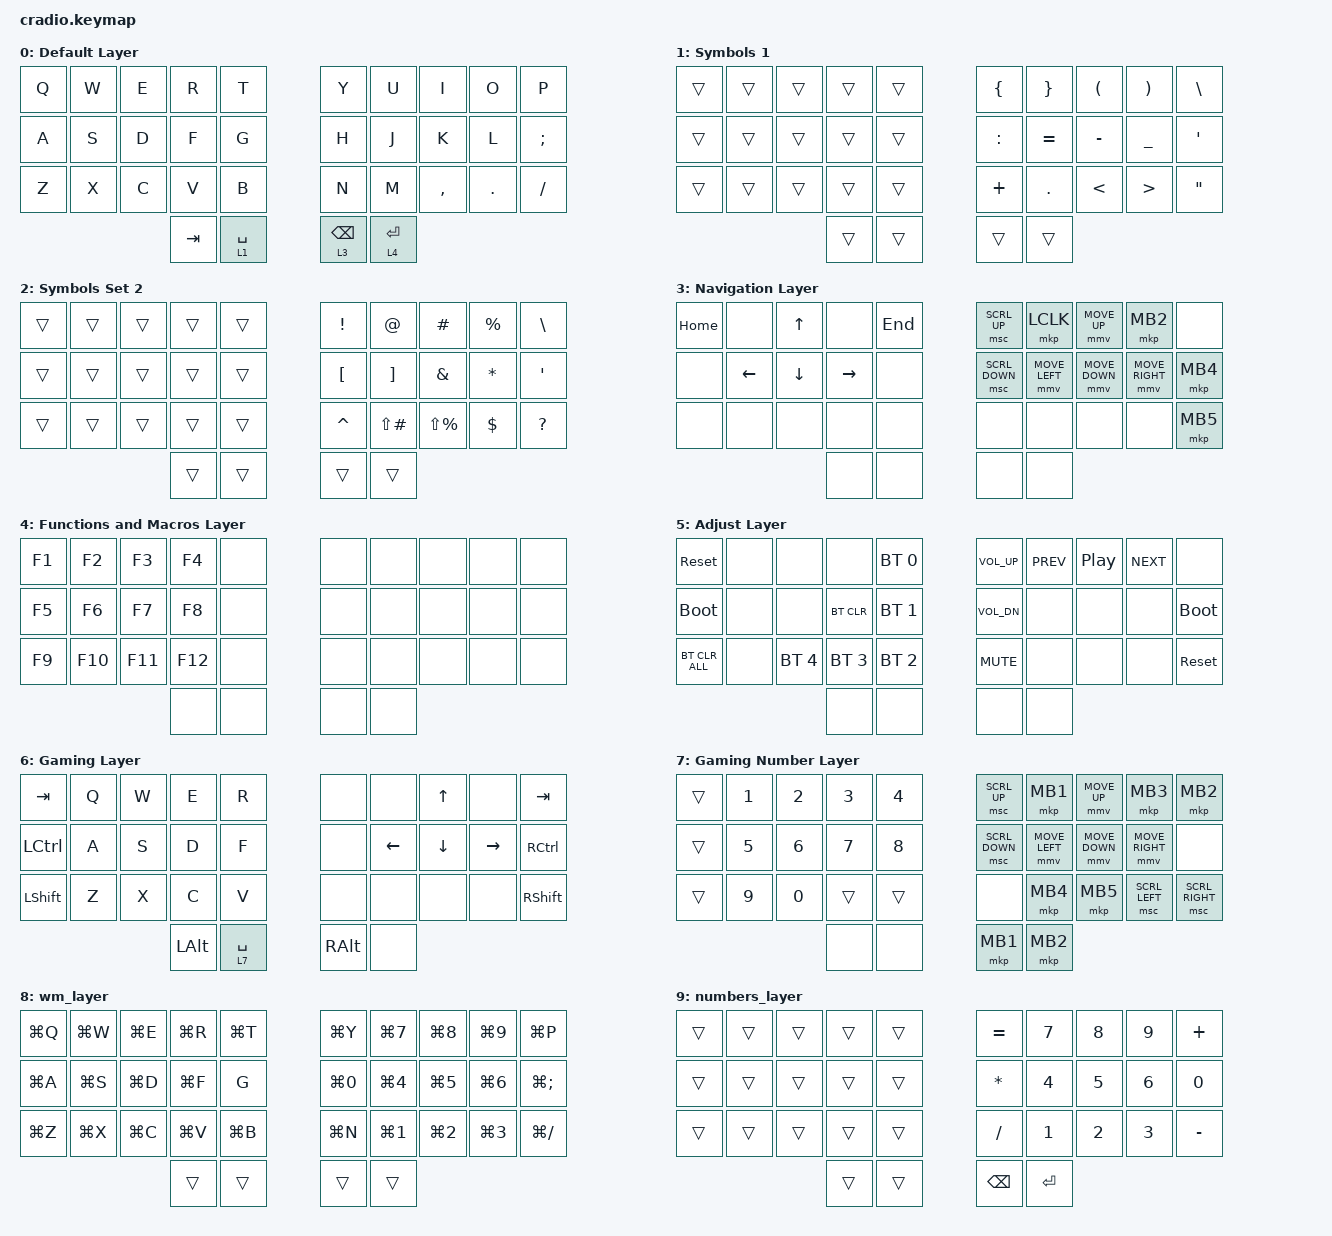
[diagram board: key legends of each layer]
#include <behaviors.dtsi>
#include <dt-bindings/zmk/bt.h>
#include <dt-bindings/zmk/keys.h>
#include <dt-bindings/zmk/pointing.h>

&mmv {
    acceleration-exponent = <4>;
    time-to-max-speed-ms = <100>;
};

&msc { time-to-max-speed-ms = <0>; };

/ {
    behaviors {
        ht: ht {
            compatible = "zmk,behavior-hold-tap";
            label = "Hold Tap";
            bindings = <&kp>, <&kp>;

            #binding-cells = <2>;
            tapping-term-ms = <220>;
            quick-tap-ms = <150>;
            require-prior-idle-ms = <100>;
            flavor = "tap-preferred";
        };

        copy_paste: copy_paste {
            compatible = "zmk,behavior-tap-dance";
            label = "COPY_PASTE";
            #binding-cells = <0>;
            bindings = <&kp LC(C)>, <&kp LC(V)>;
        };
    };

    combos {
        compatible = "zmk,combos";

        toggle_gaming_layer {
            bindings = <&tog 6>;
            key-positions = <30 33>;
            layers = <0 6>;
        };

        escape {
            bindings = <&kp ESCAPE>;
            key-positions = <0 1>;
            layers = <0>;
        };

        left_ctrl {
            bindings = <&sk LEFT_CONTROL>;
            key-positions = <10 11>;
            layers = <0>;
        };

        left_shift {
            bindings = <&sk LEFT_SHIFT>;
            key-positions = <20 21>;
            layers = <0>;
        };

        sticky_wm_layer_left {
            bindings = <&sl 8>;
            key-positions = <21 22>;
            layers = <0>;
        };

        grave {
            bindings = <&kp GRAVE>;
            key-positions = <1 2>;
            layers = <0>;
        };

        back_slash {
            bindings = <&kp BACKSLASH>;
            key-positions = <8 9>;
        };

        quote {
            bindings = <&kp SQT>;
            key-positions = <7 8>;
            layers = <0>;
        };

        right_ctrl {
            bindings = <&sk RIGHT_CONTROL>;
            key-positions = <18 19>;
            layers = <0>;
        };

        right_shift {
            bindings = <&sk RIGHT_SHIFT>;
            key-positions = <29 28>;
            layers = <0>;
        };

        stick_wm_layer_right {
            bindings = <&sl 8>;
            key-positions = <27 28>;
            layers = <0>;
        };

        right_alt {
            bindings = <&sk RIGHT_ALT>;
            key-positions = <27 26>;
            layers = <0>;
        };

        symbols_1_layer {
            bindings = <&mo 1>;
            key-positions = <3 4>;
            layers = <0>;
        };

        symbols_2_layer {
            bindings = <&mo 2>;
            key-positions = <13 14>;
            layers = <0>;
        };

        fn_layer {
            bindings = <&mo 4>;
            key-positions = <6 5>;
            layers = <0>;
        };

        copy_paste {
            bindings = <&copy_paste>;
            key-positions = <15 16>;
            layers = <0>;
        };

        tilde {
            bindings = <&kp TILDE>;
            key-positions = <2 3>;
            layers = <0>;
        };

        left_win_wm_layer {
            bindings = <&kp LEFT_GUI>;
            key-positions = <21 22>;
            layers = <8>;
        };

        right_win_wm_layer {
            bindings = <&kp RIGHT_GUI>;
            key-positions = <28 27>;
            layers = <8>;
        };

        numbers_layer {
            bindings = <&mo 9>;
            key-positions = <24 23>;
            layers = <0 3>;
        };

        toggle_navigation_layer {
            bindings = <&tog 3>;
            key-positions = <25 26>;
            layers = <0>;
        };

        left_alt {
            bindings = <&sk LEFT_ALT>;
            key-positions = <23 22>;
            layers = <0 3>;
        };

        double_quotes {
            bindings = <&kp DOUBLE_QUOTES>;
            key-positions = <6 7>;
            layers = <0>;
        };

        colon {
            bindings = <&kp COLON>;
            key-positions = <17 16>;
            layers = <0>;
        };

        equal {
            bindings = <&kp EQUAL>;
            key-positions = <17 18>;
            layers = <0>;
        };

        middle_click_navigation_layer {
            bindings = <&mkp MB3>;
            key-positions = <7 8>;
            layers = <3>;
        };

        bootloader_left {
            bindings = <&bootloader>;
            key-positions = <31 30>;
            layers = <0>;
        };

        bootloader_right {
            bindings = <&bootloader>;
            key-positions = <32 33>;
            layers = <0>;
        };
    };

    keymap {
        compatible = "zmk,keymap";

        default_layer {
            bindings = <
&kp Q  &kp W  &kp E  &kp R    &kp T          &kp Y            &kp U        &kp I      &kp O    &kp P
&kp A  &kp S  &kp D  &kp F    &kp G          &kp H            &kp J        &kp K      &kp L    &kp SEMICOLON
&kp Z  &kp X  &kp C  &kp V    &kp B          &kp N            &kp M        &kp COMMA  &kp DOT  &kp FSLH
                     &kp TAB  &lt 1 SPACE    &lt 3 BACKSPACE  &lt 4 ENTER
            >;

            label = "Default Layer";
        };

        symbols_1 {
            bindings = <
&trans  &trans  &trans  &trans  &trans    &kp LEFT_BRACE  &kp RIGHT_BRACE  &kp LEFT_PARENTHESIS  &kp RIGHT_PARENTHESIS  &kp BACKSLASH
&trans  &trans  &trans  &trans  &trans    &kp COLON       &kp EQUAL        &kp MINUS             &kp UNDER              &kp SINGLE_QUOTE
&trans  &trans  &trans  &trans  &trans    &kp PLUS        &kp DOT          &kp LESS_THAN         &kp GREATER_THAN       &kp DOUBLE_QUOTES
                        &trans  &trans    &trans          &trans
            >;

            label = "Symbols 1";
        };

        symbols_2 {
            bindings = <
&trans  &trans  &trans  &trans  &trans    &kp EXCL   &kp AT         &kp HASH       &kp PERCENT  &kp BACKSLASH
&trans  &trans  &trans  &trans  &trans    &kp LBKT   &kp RBKT       &kp AMPERSAND  &kp STAR     &kp SQT
&trans  &trans  &trans  &trans  &trans    &kp CARET  &kp LS(POUND)  &kp LS(PRCNT)  &kp DOLLAR   &kp QUESTION
                        &trans  &trans    &trans     &trans
            >;

            label = "Symbols Set 2";
        };

        navigation_layer {
            bindings = <
&kp HOME  &none     &kp UP_ARROW    &none            &kp END    &msc SCRL_UP    &mkp LCLK       &mmv MOVE_UP    &mkp MB2         &none
&none     &kp LEFT  &kp DOWN_ARROW  &kp RIGHT_ARROW  &none      &msc SCRL_DOWN  &mmv MOVE_LEFT  &mmv MOVE_DOWN  &mmv MOVE_RIGHT  &mkp MB4
&none     &none     &none           &none            &none      &none           &none           &none           &none            &mkp MB5
                                    &none            &none      &none           &none
            >;

            label = "Navigation Layer";
        };

        fn_macro_layer {
            bindings = <
&kp F1  &kp F2   &kp F3   &kp F4   &none    &none  &none  &none  &none  &none
&kp F5  &kp F6   &kp F7   &kp F8   &none    &none  &none  &none  &none  &none
&kp F9  &kp F10  &kp F11  &kp F12  &none    &none  &none  &none  &none  &none
                          &none    &none    &none  &none
            >;

            label = "Functions and Macros Layer";
        };

        adjustment_layer {
            bindings = <
&sys_reset      &none  &none         &none         &bt BT_SEL 0    &kp C_VOLUME_UP  &kp C_PREV  &kp C_PLAY_PAUSE  &kp C_NEXT  &none
&bootloader     &none  &none         &bt BT_CLR    &bt BT_SEL 1    &kp C_VOL_DN     &none       &none             &none       &bootloader
&bt BT_CLR_ALL  &none  &bt BT_SEL 4  &bt BT_SEL 3  &bt BT_SEL 2    &kp C_MUTE       &none       &none             &none       &sys_reset
                                     &none         &none           &none            &none
            >;

            label = "Adjust Layer";
        };

        gaming_layer {
            bindings = <
&kp TAB    &kp Q  &kp W  &kp E         &kp R          &none          &none     &kp UP_ARROW  &none      &kp TAB
&kp LCTRL  &kp A  &kp S  &kp D         &kp F          &none          &kp LEFT  &kp DOWN      &kp RIGHT  &kp RCTRL
&kp LSHFT  &kp Z  &kp X  &kp C         &kp V          &none          &none     &none         &none      &kp RSHIFT
                         &kp LEFT_ALT  &lt 7 SPACE    &kp RIGHT_ALT  &none
            >;

            label = "Gaming Layer";
        };

        gaming_number_layer {
            bindings = <
&trans  &kp N1  &kp N2  &kp N3  &kp N4    &msc SCRL_UP    &mkp MB1        &mmv MOVE_UP    &mkp MB3         &mkp MB2
&trans  &kp N5  &kp N6  &kp N7  &kp N8    &msc SCRL_DOWN  &mmv MOVE_LEFT  &mmv MOVE_DOWN  &mmv MOVE_RIGHT  &none
&trans  &kp N9  &kp N0  &trans  &trans    &none           &mkp MB4        &mkp MB5        &msc SCRL_LEFT   &msc SCRL_RIGHT
                        &none   &none     &mkp MB1        &mkp MB2
            >;

            label = "Gaming Number Layer";
        };

        wm_layer {
            bindings = <
&kp LG(Q)  &kp LG(W)  &kp LG(E)  &kp LG(R)  &kp LG(T)    &kp LG(Y)   &kp LG(N7)  &kp LG(N8)  &kp LG(N9)  &kp LG(P)
&kp LG(A)  &kp LG(S)  &kp LG(D)  &kp LG(F)  &kp G        &kp LG(N0)  &kp LG(N4)  &kp LG(N5)  &kp LG(N6)  &kp LG(SEMI)
&kp LG(Z)  &kp LG(X)  &kp LG(C)  &kp LG(V)  &kp LG(B)    &kp LG(N)   &kp LG(N1)  &kp LG(N2)  &kp LG(N3)  &kp LG(FSLH)
                                 &trans     &trans       &trans      &trans
            >;
        };

        numbers_layer {
            bindings = <
&trans  &trans  &trans  &trans  &trans    &kp EQUAL  &kp N7   &kp N8  &kp N9  &kp PLUS
&trans  &trans  &trans  &trans  &trans    &kp STAR   &kp N4   &kp N5  &kp N6  &kp N0
&trans  &trans  &trans  &trans  &trans    &kp FSLH   &kp N1   &kp N2  &kp N3  &kp MINUS
                        &trans  &trans    &kp BSPC   &kp RET
            >;
        };
    };

    conditional_layers {
        compatible = "zmk,conditional-layers";

        toggle_adjustment_layer {
            if-layers = <2 3>;
            then-layer = <5>;
        };
    };
};
